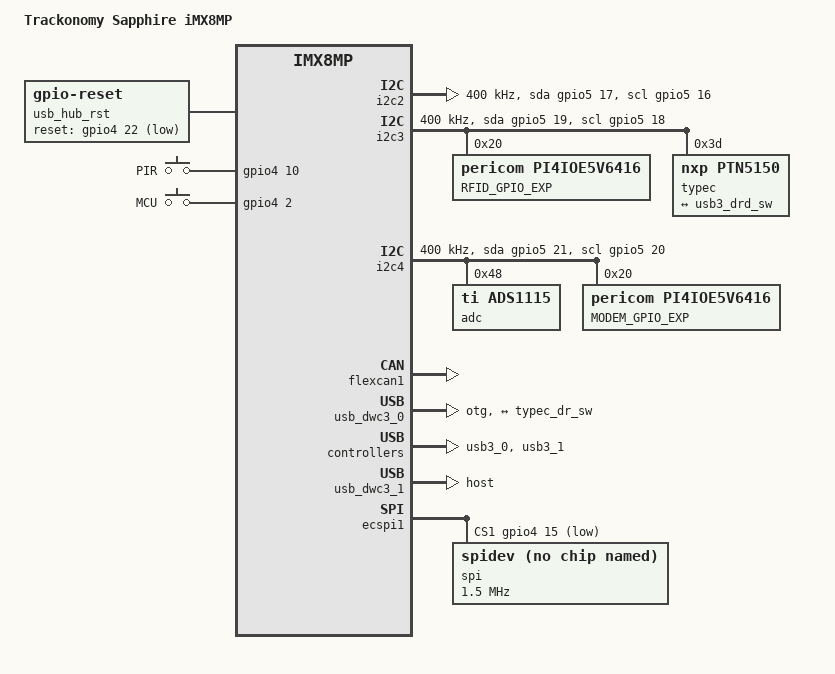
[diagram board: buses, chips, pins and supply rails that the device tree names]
// SPDX-License-Identifier: (GPL-2.0+ OR MIT)
/*
 * Copyright 2026 Trackonomy Systems.
 *
 * Sapphire carrier board for TechNexion EDM-G iMX8MP SOM.
 *
 * Author: Aditya Biswas <aditya@trackonomysystems.com>
 */

/dts-v1/;
#include "imx8mp-edm-g.dtsi"

/ {
	model = "Trackonomy Sapphire iMX8MP";
	compatible = "trk,sapphire-imx8mp", "fsl,imx8mp-edmg", "fsl,imx8mp";

	chosen {
		stdout-path = &uart2;
	};



	usb_hub_rst: usb_hub_rst {
		compatible = "gpio-reset";
		pinctrl-names = "default";
		pinctrl-0 = <&pinctrl_usb_hub_ctrl>;
		reset-gpios = <&gpio4 22 GPIO_ACTIVE_LOW>;
		reset-delay-us = <10>;
		#reset-cells = <0>;
	};

	gpio-keys {
		compatible = "gpio-keys";
		status = "okay";

		pir1 {
			label = "PIR";
			linux,code = <KEY_LEFT>;
			gpios = <&gpio4 10 GPIO_ACTIVE_HIGH>;
			wakeup-source;
		};

//PIR 2 GPIO is disabled on the baseboard, so disabling in DTS as well. 
//If needed, can be enabled by uncommenting this section and connecting PIR2 to GPIO4_11 on the baseboard.
/* 
	pir2 {
			label = "PIR2";
			linux,code = <KEY_RIGHT>;
			gpios = <&gpio4 11 GPIO_ACTIVE_HIGH>;
			wakeup-source;
		};
*/
		mcu {
			label = "MCU";
			linux,code = <KEY_UP>;
			gpios = <&gpio4 2 GPIO_ACTIVE_HIGH>;
 			wakeup-source;
 		};
	};
};

&pwm1 {
    status = "disabled";
};

&pwm3 {
	status = "disabled";
};

&snvs_pwrkey {
	status = "disabled";
};

&mipi_dsi {
	status = "disabled";
};

&mipi_csi_0 {
	status = "disabled";
};

&mipi_csi_1 {
	status = "disabled";
};

&i2c2 {
	clock-frequency = <400000>;
	pinctrl-names = "default", "gpio";
	pinctrl-0 = <&pinctrl_i2c2>;
	pinctrl-1 = <&pinctrl_i2c2_gpio>;
	scl-gpios = <&gpio5 16 GPIO_ACTIVE_HIGH>;
	sda-gpios = <&gpio5 17 GPIO_ACTIVE_HIGH>;
	status = "okay";
};

&i2c3 {
	clock-frequency = <400000>;
	pinctrl-names = "default", "gpio";
	pinctrl-0 = <&pinctrl_i2c3>;
	pinctrl-1 = <&pinctrl_i2c3_gpio>;
	scl-gpios = <&gpio5 18 GPIO_ACTIVE_HIGH>;
	sda-gpios = <&gpio5 19 GPIO_ACTIVE_HIGH>;
	status = "okay";

	PI4IOE5V6416_B: gpio@20 {
		compatible = "pericom,pi4ioe5v6416";
		reg = <0x20>;
		gpio-controller;
		pinctrl-names = "default";
		/*pinctrl-0 = <&pinctrl_pi4io16_A>;*/
		#gpio-cells = <2>;
		status = "okay";
		/* below tags for gpio pins are updated to sapphire 2.3.4.2 */
		label = "RFID_GPIO_EXP";
		gpio-line-names =	\
			"RFID1_GPIO1", "RFID1_GPIO2", "RFID1_GPIO3", "RFID1_GPIO4", "RFID1_GPIO5", "RFID1_GPIO6", "RFID1_EN", "TP31",	\
			"RFID2_GPIO1", "RFID2_GPIO2", "RFID2_GPIO3", "RFID2_GPIO4", "RFID2_GPIO5", "RFID2_GPIO6", "RFID2_EN", "TP51";
	};

	/* USB Type-C Controller */
	typec@3d {
		compatible = "nxp,ptn5150";
		pinctrl-names = "default";
		/*pinctrl-0 = <&pinctrl_extcon>;*/
		reg = <0x3d>;
		/*interrupt-parent = <&gpio1>;
		interrupts = <10 IRQ_TYPE_LEVEL_HIGH>;
		irq-is-id-quirk;*/
		status = "okay";

		port {
			typec_dr_sw: endpoint {
				remote-endpoint = <&usb3_drd_sw>;
			};
		};
	};
};

&i2c4 {
	clock-frequency = <400000>;
	pinctrl-names = "default", "gpio";
	pinctrl-0 = <&pinctrl_i2c4>;
	pinctrl-1 = <&pinctrl_i2c4_gpio>;
	scl-gpios = <&gpio5 20 GPIO_ACTIVE_HIGH>;
	sda-gpios = <&gpio5 21 GPIO_ACTIVE_HIGH>;
	status = "okay";

	adc@48 {
		compatible = "ti,ads1115";
		reg = <0x48>;
		#address-cells = <1>;
		#size-cells = <0>;
		channel@0 {
			reg = <0>;
			ti,gain = <1>;
			ti,datarate = <5>;
			};
		channel@1 {
			reg = <1>;
			ti,gain = <3>;
			ti,datarate = <5>;
		};
		channel@2 {
			reg = <2>;
			ti,gain = <3>;
			ti,datarate = <5>;
		};
		channel@3 {
			reg = <3>;
			ti,gain = <3>;
			ti,datarate = <5>;
		};
	};

	PI4IOE5V6416: gpio@20 {
		compatible = "pericom,pi4ioe5v6416";
		reg = <0x20>;
		gpio-controller;
		pinctrl-names = "default";
		#gpio-cells = <2>;
		status = "okay";
		/* below tags for gpio pins are updated to sapphire 2.3.4.2 */
		label = "MODEM_GPIO_EXP";
		gpio-line-names =	\
			"CONFIG_0", "CONFIG_1", "CONFIG_2", "CONFIG_3", "OLED_RES", "PE_IO0_5", "PE_IO0_6", "PE_IO0_7",	\
			"CELL_PWR_EN", "FULL_CARD_POWER_OFF", "PE_IO1_2", "W_DISABLE1#", "W_DISABLE2#", "RST", "PE_IO1_6", "PE_IO1_7"; 
	};
};

&i2c5 {
	status = "disabled";
};

&eqos {
	status = "disabled";
};

&flexcan1 {
	status = "okay";
};

&flexcan2 {
	status = "disabled";
};

&usb_dwc3_0 {
	dr_mode = "otg";
	pinctrl-names = "default";
	hnp-disable;
	srp-disable;
	adp-disable;
	usb-role-switch;
	role-switch-default-mode = "none";
	snps,dis-u1-entry-quirk;
	snps,dis-u2-entry-quirk;
	status = "okay";

	port {
		usb3_drd_sw: endpoint {
			remote-endpoint = <&typec_dr_sw>;
		};
	};
};

&usb3_0 {
	status = "okay";
};

&usb3_1 {
	status = "okay";
};

&usb_dwc3_1 {
	dr_mode = "host";
	status = "okay";
	resets = <&usb_hub_rst>;
};

&pcie{
	status = "disabled";
};

&pcie_phy{
	status = "disabled";
};

/* Override SOM's spidev1 placeholder (TN's imx8mp-edm-g.dtsi) with our PCA21125 RTC.
 * SOM declares spidev1 at ECSPI1 CS0 with a generic dh2228fv compatible — we
 * replace it by label so we don't double-claim CS0. */
&spidev1 {
	compatible = "nxp,pca21125";
	spi-max-frequency = <1500000>;
	spi-cs-high;
	/* RTC interrupt disabled per kirkstone patch 0009 — INT line not used.
	 * interrupt-parent = <&gpio4>;
	 * interrupts = <1 IRQ_TYPE_EDGE_FALLING>;
	 * int-gpio = <&gpio4 1 GPIO_ACTIVE_LOW>;
	 */
};

/* Extend ecspi1 to 2 chip selects for our additional spidev on CS1.
 * Keep CS0 polarity (ACTIVE_LOW) inherited from SOM dtsi — combined with
 * spi-cs-high on the PCA21125 above, the SPI subsystem reconciles correctly. */
&ecspi1 {
	num-cs = <2>;
	cs-gpios = <&gpio5 9 GPIO_ACTIVE_LOW> ,<&gpio4 15 GPIO_ACTIVE_LOW>;
	status = "okay";
	
	// The SX1276 LoRa transceiver is connected to the second chip select of ECSPI1, but it's currently disabled in the DTS.
	// If you want to enable it, make sure to connect the SX1276 to the second chip select (CS1) on the baseboard and uncomment the section below in the DTS.
	/*sx1276@1 {
		compatible = "semtech,sx1276";
		reg = <1>;
		spi-max-frequency = <1500000>;
		center-carrier-frq = <924000000>;
		clock-frequency = <32000000>;
		minimal-RF-channel = /bits/ 8 <11>;
		maximum-RF-channel = /bits/ 8 <11>;
	};*/

	// Below node is for a basic spi driver to have /dev/spi1.1 available in the system.
	//  You can replace the compatible string and add necessary properties based on the actual SPI device you connect to SPI1.1 on the baseboard.
	spi@1 {
		reg = <1>;
		compatible = "rohm,dh2228fv";
		spi-max-frequency = <1500000>;
	};
};

&sai2 {
	status = "disabled";
};

&sai3 {
	status = "disabled";
};

&usdhc2 {
	status = "disabled";
};

&iomuxc {
	pinctrl-names = "default";
	pinctrl-0 = <&pinctrl_hog>;

	pinctrl_hog: hoggrp {
		fsl,pins = <
			MX8MP_IOMUXC_HDMI_DDC_SCL__HDMIMIX_HDMI_SCL			0x400001c2
			MX8MP_IOMUXC_HDMI_DDC_SDA__HDMIMIX_HDMI_SDA			0x400001c2
			MX8MP_IOMUXC_HDMI_HPD__HDMIMIX_HDMI_HPD				0x40000010
			MX8MP_IOMUXC_HDMI_CEC__HDMIMIX_HDMI_CEC				0x40000010
			MX8MP_IOMUXC_SAI1_TXD1__GPIO4_IO13					0x19
			MX8MP_IOMUXC_SAI5_RXC__GPIO3_IO20					0x19
			MX8MP_IOMUXC_SAI1_TXD4__GPIO4_IO16					0x19
			MX8MP_IOMUXC_SAI1_RXD2__GPIO4_IO04					0x19
			MX8MP_IOMUXC_SAI1_TXD5__GPIO4_IO17					0x19
			MX8MP_IOMUXC_SAI1_RXD3__GPIO4_IO05					0x19
			MX8MP_IOMUXC_GPIO1_IO06__GPIO1_IO06					0x19
			MX8MP_IOMUXC_GPIO1_IO15__GPIO1_IO15					0x19
			MX8MP_IOMUXC_GPIO1_IO08__GPIO1_IO08					0x19
			MX8MP_IOMUXC_GPIO1_IO07__GPIO1_IO07					0x19
			MX8MP_IOMUXC_GPIO1_IO14__GPIO1_IO14					0x19
			MX8MP_IOMUXC_SAI2_RXFS__GPIO4_IO21					0x19
			MX8MP_IOMUXC_GPIO1_IO13__GPIO1_IO13					0x19
			MX8MP_IOMUXC_GPIO1_IO01__GPIO1_IO01					0x19
			MX8MP_IOMUXC_SAI5_RXD3__GPIO3_IO24					0x19
			MX8MP_IOMUXC_SAI5_MCLK__GPIO3_IO25					0x19
			MX8MP_IOMUXC_SAI3_RXD__GPIO4_IO30					0x19
			MX8MP_IOMUXC_SAI3_TXFS__GPIO4_IO31					0x19
			MX8MP_IOMUXC_SAI3_TXD__GPIO5_IO01					0x19
			MX8MP_IOMUXC_SAI3_TXC__GPIO5_IO00					0x19
			MX8MP_IOMUXC_SAI3_MCLK__GPIO5_IO02					0x19
			MX8MP_IOMUXC_SAI2_MCLK__GPIO4_IO27					0x19
			MX8MP_IOMUXC_GPIO1_IO10__GPIO1_IO10					0x19
			MX8MP_IOMUXC_SAI1_RXD0__GPIO4_IO02					0x19
			MX8MP_IOMUXC_SAI1_RXD1__GPIO4_IO03					0x19
			MX8MP_IOMUXC_SAI1_TXFS__GPIO4_IO10					0x19
			MX8MP_IOMUXC_SAI1_TXC__GPIO4_IO11					0x19
			MX8MP_IOMUXC_SAI1_RXD4__GPIO4_IO06					0x19
			MX8MP_IOMUXC_SAI1_RXD5__GPIO4_IO07					0x19
			MX8MP_IOMUXC_SAI1_RXD6__GPIO4_IO08					0x19
			MX8MP_IOMUXC_SAI1_RXD7__GPIO4_IO09					0x19
			MX8MP_IOMUXC_SPDIF_EXT_CLK__GPIO5_IO05				0x19
			MX8MP_IOMUXC_SAI1_RXFS__GPIO4_IO00					0x19
			>;
	};

	pinctrl_usb_hub_ctrl: usbhubctrlgrp {
		fsl,pins = <
			MX8MP_IOMUXC_SAI2_RXC__GPIO4_IO22		0x41 /* USB_HUB_RESET */
		>;
	};

	pinctrl_rtc: pinctrl_rtcgrp {
		fsl,pins = <
			MX8MP_IOMUXC_SAI1_RXC__GPIO4_IO01		0x19 /* USB_OTG_PWR_EN */
		>;
	};

	pinctrl_i2c3: i2c3grp {
		fsl,pins = <
			MX8MP_IOMUXC_I2C3_SCL__I2C3_SCL					0x400001c2
			MX8MP_IOMUXC_I2C3_SDA__I2C3_SDA					0x400001c2
		>;
	};

	pinctrl_i2c3_gpio: i2c3gpiogrp {
		fsl,pins = <
			MX8MP_IOMUXC_I2C3_SCL__GPIO5_IO18				0x1c2
			MX8MP_IOMUXC_I2C3_SDA__GPIO5_IO19				0x1c2
		>;
	};

	pinctrl_pi4io16_A: pi4io16grp {
		fsl,pins = <
			MX8MP_IOMUXC_SAI3_RXFS__GPIO4_IO28				0x19
			MX8MP_IOMUXC_SAI3_RXC__GPIO4_IO29				0x19
		>;
	};

	pinctrl_i2c2: i2c2grp {
		fsl,pins = <
			MX8MP_IOMUXC_I2C2_SCL__I2C2_SCL				0x400001c2
			MX8MP_IOMUXC_I2C2_SDA__I2C2_SDA				0x400001c2
		>;
	};


	pinctrl_i2c2_gpio: i2c2gpiogrp {
		fsl,pins = <
			MX8MP_IOMUXC_I2C2_SCL__GPIO5_IO16				0x1c2
			MX8MP_IOMUXC_I2C2_SDA__GPIO5_IO17				0x1c2
		>;
	};

	pinctrl_extcon: extcongrp {
		fsl,pins = <
			MX8MP_IOMUXC_GPIO1_IO10__USB1_ID				0x10
		>;
	};

	pinctrl_i2c4: i2c4grp {
		fsl,pins = <
			MX8MP_IOMUXC_I2C4_SCL__I2C4_SCL					0x400001c2
			MX8MP_IOMUXC_I2C4_SDA__I2C4_SDA					0x400001c2
		>;
	};

	pinctrl_i2c4_gpio: i2c4gpiogrp {
		fsl,pins = <
			MX8MP_IOMUXC_I2C4_SCL__GPIO5_IO20				0x1c2
			MX8MP_IOMUXC_I2C4_SDA__GPIO5_IO21				0x1c2
		>;
	};


	pinctrl_ecspi2: ecspi2grp {
		fsl,pins = <
			MX8MP_IOMUXC_ECSPI2_SCLK__ECSPI2_SCLK				0x12
			MX8MP_IOMUXC_ECSPI2_MOSI__ECSPI2_MOSI				0x12
			MX8MP_IOMUXC_ECSPI2_MISO__ECSPI2_MISO 				0x12
			MX8MP_IOMUXC_ECSPI2_SS0__GPIO5_IO13				0x12
		>;
	};

	pinctrl_ecspi1: ecspi1grp {
		fsl,pins = <
			MX8MP_IOMUXC_ECSPI1_SCLK__ECSPI1_SCLK				0x82
			MX8MP_IOMUXC_ECSPI1_MOSI__ECSPI1_MOSI				0x82
			MX8MP_IOMUXC_ECSPI1_MISO__ECSPI1_MISO				0x82
			MX8MP_IOMUXC_ECSPI1_SS0__GPIO5_IO09					0x19
			MX8MP_IOMUXC_SAI1_TXD3__GPIO4_IO15					0x12
		>;
	};
};
